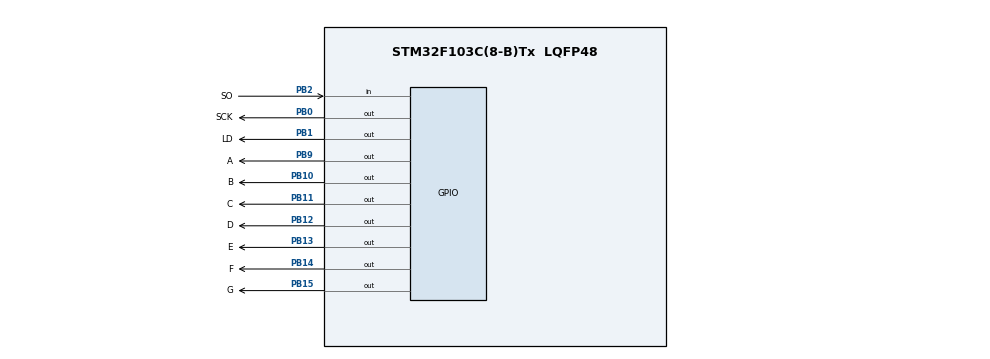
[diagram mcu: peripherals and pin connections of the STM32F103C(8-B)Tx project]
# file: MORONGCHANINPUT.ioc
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Mcu.Family=STM32F1
Mcu.Name=STM32F103C(8-B)Tx
Mcu.Package=LQFP48
NVIC.PriorityGroup=NVIC_PRIORITYGROUP_4
PA13.Mode=Serial_Wire
PA13.Signal=SYS_JTMS-SWDIO
PA14.Mode=Serial_Wire
PA14.Signal=SYS_JTCK-SWCLK
PB0.GPIO_Label=SCK
PB0.Signal=GPIO_Output
PB1.GPIO_Label=LD
PB1.Signal=GPIO_Output
PB10.GPIO_Label=B
PB10.Signal=GPIO_Output
PB11.GPIO_Label=C
PB11.Signal=GPIO_Output
PB12.GPIO_Label=D
PB12.Signal=GPIO_Output
PB13.GPIO_Label=E
PB13.Signal=GPIO_Output
PB14.GPIO_Label=F
PB14.Signal=GPIO_Output
PB15.GPIO_Label=G
PB15.Signal=GPIO_Output
PB2.GPIO_Label=SO
PB2.Signal=GPIO_Input
PB9.GPIO_Label=A
PB9.Signal=GPIO_Output
ProjectManager.HeapSize=0x200
ProjectManager.StackSize=0x400
ProjectManager.TargetToolchain=MDK-ARM V5.32
RCC.APB1Freq_Value=8000000
RCC.APB2Freq_Value=8000000
board=custom

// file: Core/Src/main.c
../* USER CODE BEGIN Header */
/**
  ******************************************************************************
  * @file           : main.c
  * @brief          : Main program body
  ******************************************************************************
  * @attention
  *
  * Copyright (c) 2025 STMicroelectronics.
  * All rights reserved.
  *
  * This software is licensed under terms that can be found in the LICENSE file
  * in the root directory of this software component.
  * If no LICENSE file comes with this software, it is provided AS-IS.
  *
  ******************************************************************************
  */
/* USER CODE END Header */
#include "main.h"

/* USER CODE BEGIN Includes */
#include "SEVSEG.h"
#include "IC74HC165.h"
/* USER CODE END Includes */

/* USER CODE BEGIN PV */
SevSegCnf_t Cnf = {
	.SEG_PORT = {A_GPIO_Port, B_GPIO_Port, C_GPIO_Port, D_GPIO_Port, E_GPIO_Port, F_GPIO_Port, G_GPIO_Port},
	.SEG_PIN = {A_Pin, B_Pin, C_Pin, D_Pin, E_Pin, F_Pin, G_Pin}
};
BUTTON_TypeDef Button = {
	.SCK_PORT = SCK_GPIO_Port,
	.SCK_PIN = SCK_Pin,
	.LD_PORT = LD_GPIO_Port,
	.LD_PIN = LD_Pin,
	.SO_PORT = SO_GPIO_Port,
	.SO_PIN = SO_Pin
};
/* USER CODE END PV */

void SystemClock_Config(void);
static void MX_GPIO_Init(void);

int main(void)
{

  /* MCU Configuration--------------------------------------------------------*/

  /* Reset of all peripherals, Initializes the Flash interface and the Systick. */
  HAL_Init();

  /* Configure the system clock */
  SystemClock_Config();

  /* Initialize all configured peripherals */
  MX_GPIO_Init();

  /* Infinite loop */
  /* USER CODE BEGIN WHILE */
	SevSeg_DisplayDigit(&Cnf, 0);
  while (1)
  {
		DisplayButtonNumber(&Button, &Cnf);
    /* USER CODE END WHILE */

  }
}

void SystemClock_Config(void)
{
  RCC_OscInitTypeDef RCC_OscInitStruct = {0};
  RCC_ClkInitTypeDef RCC_ClkInitStruct = {0};

  /** Initializes the RCC Oscillators according to the specified parameters
  * in the RCC_OscInitTypeDef structure.
  */
  RCC_OscInitStruct.OscillatorType = RCC_OSCILLATORTYPE_HSI;
  RCC_OscInitStruct.HSIState = RCC_HSI_ON;
  RCC_OscInitStruct.HSICalibrationValue = RCC_HSICALIBRATION_DEFAULT;
  RCC_OscInitStruct.PLL.PLLState = RCC_PLL_NONE;
  if (HAL_RCC_OscConfig(&RCC_OscInitStruct) != HAL_OK)
  {
    Error_Handler();
  }

  /** Initializes the CPU, AHB and APB buses clocks
  */
  RCC_ClkInitStruct.ClockType = RCC_CLOCKTYPE_HCLK|RCC_CLOCKTYPE_SYSCLK
                              |RCC_CLOCKTYPE_PCLK1|RCC_CLOCKTYPE_PCLK2;
  RCC_ClkInitStruct.SYSCLKSource = RCC_SYSCLKSOURCE_HSI;
  RCC_ClkInitStruct.AHBCLKDivider = RCC_SYSCLK_DIV1;
  RCC_ClkInitStruct.APB1CLKDivider = RCC_HCLK_DIV1;
  RCC_ClkInitStruct.APB2CLKDivider = RCC_HCLK_DIV1;

  if (HAL_RCC_ClockConfig(&RCC_ClkInitStruct, FLASH_LATENCY_0) != HAL_OK)
  {
    Error_Handler();
  }
}

static void MX_GPIO_Init(void)
{
  GPIO_InitTypeDef GPIO_InitStruct = {0};

  /* GPIO Ports Clock Enable */
  __HAL_RCC_GPIOB_CLK_ENABLE();
  __HAL_RCC_GPIOA_CLK_ENABLE();

  /*Configure GPIO pin Output Level */
  HAL_GPIO_WritePin(GPIOB, SCK_Pin|LD_Pin|B_Pin|C_Pin
                          |D_Pin|E_Pin|F_Pin|G_Pin
                          |A_Pin, GPIO_PIN_RESET);

  /*Configure GPIO pins : SCK_Pin LD_Pin B_Pin C_Pin
                           D_Pin E_Pin F_Pin G_Pin
                           A_Pin */
  GPIO_InitStruct.Pin = SCK_Pin|LD_Pin|B_Pin|C_Pin
                          |D_Pin|E_Pin|F_Pin|G_Pin
                          |A_Pin;
  GPIO_InitStruct.Mode = GPIO_MODE_OUTPUT_PP;
  GPIO_InitStruct.Pull = GPIO_NOPULL;
  GPIO_InitStruct.Speed = GPIO_SPEED_FREQ_LOW;
  HAL_GPIO_Init(GPIOB, &GPIO_InitStruct);

  /*Configure GPIO pin : SO_Pin */
  GPIO_InitStruct.Pin = SO_Pin;
  GPIO_InitStruct.Mode = GPIO_MODE_INPUT;
  GPIO_InitStruct.Pull = GPIO_NOPULL;
  HAL_GPIO_Init(SO_GPIO_Port, &GPIO_InitStruct);

}

void Error_Handler(void)
{
  __disable_irq();
  while (1)
  {
  }
}
